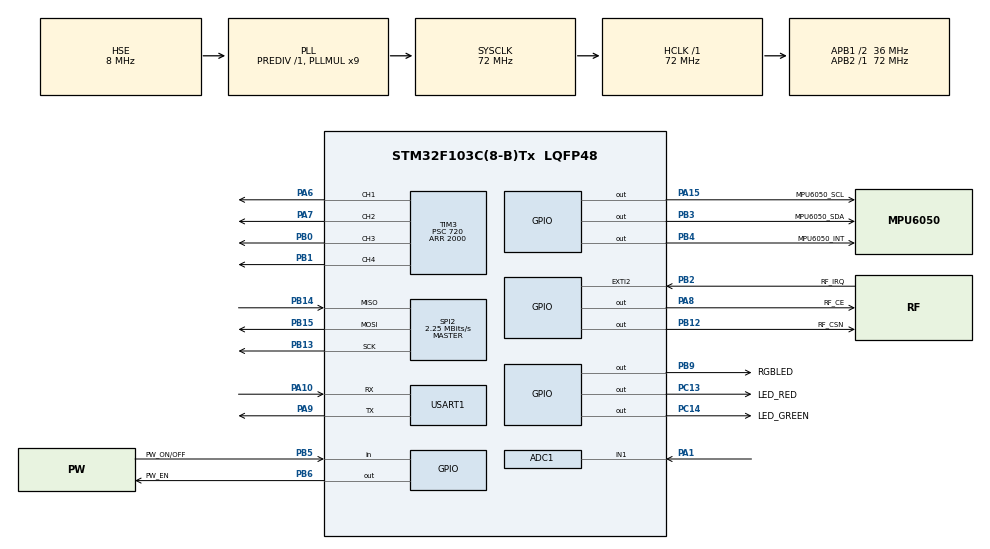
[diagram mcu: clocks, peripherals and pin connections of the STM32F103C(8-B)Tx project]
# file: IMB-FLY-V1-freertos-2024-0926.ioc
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ADC1.Channel-0\#ChannelRegularConversion=ADC_CHANNEL_1
ADC1.NbrOfConversionFlag=1
ADC1.Rank-0\#ChannelRegularConversion=1
ADC1.SamplingTime-0\#ChannelRegularConversion=ADC_SAMPLETIME_13CYCLES_5
ADC1.master=1
FREERTOS.Tasks01=PWR_Task,0,128,Start_PWR_Task,Default,NULL,Dynamic,NULL,NULL;LED_Task,-3,128,Start_LED_Task,Default,NULL,Dynamic,NULL,NULL;BMP280_Task,-3,128,Start_BMP280_Task,Default,NULL,Dynamic,NULL,NULL;SI24R1_SingalCheck_Task,-3,128,Start_SI24R1_SingalCheck,Default,NULL,Dynamic,NULL,NULL;SI24R1_GetAddr_Task,-3,128,Start_SI24R1_GetAddr,Default,NULL,Dynamic,NULL,NULL;LowVoltage_Alarm_Task,-3,128,Start_LowVoltage_Alarm_Task,Default,NULL,Dynamic,NULL,NULL;SendToRemote_Task,-3,128,Start_SendToRemote_Task,Default,NULL,Dynamic,NULL,NULL;ANO_DT_Data_Task,-3,128,Start_ANO_DT_Data_Task,Default,NULL,Dynamic,NULL,NULL;Prepare_Data_Task,-3,128,StartT_Prepare_Data_Task,Default,NULL,Dynamic,NULL,NULL;IMUupdate_Task,-3,128,Start_IMUupdate_Task,Default,NULL,Dynamic,NULL,NULL;Control_Task,-3,128,Start_Control_Task,Default,NULL,Dynamic,NULL,NULL
FREERTOS.configMAX_TASK_NAME_LEN=25
FREERTOS.configTOTAL_HEAP_SIZE=8192
Mcu.Family=STM32F1
Mcu.Name=STM32F103C(8-B)Tx
Mcu.Package=LQFP48
NVIC.EXTI2_IRQn=true\:5\:0\:false\:false\:true\:true\:true\:true\:true
NVIC.PriorityGroup=NVIC_PRIORITYGROUP_4
NVIC.USART1_IRQn=true\:6\:0\:true\:false\:true\:true\:true\:true\:true
PA1.Signal=ADCx_IN1
PA10.Mode=Asynchronous
PA10.Signal=USART1_RX
PA13.Mode=Serial_Wire
PA13.Signal=SYS_JTMS-SWDIO
PA14.Mode=Serial_Wire
PA14.Signal=SYS_JTCK-SWCLK
PA15.GPIO_Label=MPU6050_SCL
PA15.Signal=GPIO_Output
PA6.Signal=S_TIM3_CH1
PA7.Signal=S_TIM3_CH2
PA8.GPIO_Label=RF_CE
PA8.Signal=GPIO_Output
PA9.Mode=Asynchronous
PA9.Signal=USART1_TX
PB0.Signal=S_TIM3_CH3
PB1.Signal=S_TIM3_CH4
PB12.GPIO_Label=RF_CSN
PB12.Signal=GPIO_Output
PB13.Mode=Full_Duplex_Master
PB13.Signal=SPI2_SCK
PB14.Mode=Full_Duplex_Master
PB14.Signal=SPI2_MISO
PB15.Mode=Full_Duplex_Master
PB15.Signal=SPI2_MOSI
PB2.GPIO_Label=RF_IRQ
PB2.GPIO_ModeDefaultEXTI=GPIO_MODE_IT_FALLING
PB2.GPIO_PuPd=GPIO_PULLUP
PB2.Signal=GPXTI2
PB3.GPIO_Label=MPU6050_SDA
PB3.Signal=GPIO_Output
PB4.GPIO_Label=MPU6050_INT
PB4.Signal=GPIO_Output
PB5.GPIO_Label=PW_ON/OFF
PB5.GPIO_PuPd=GPIO_PULLUP
PB5.Signal=GPIO_Input
PB6.GPIO_Label=PW_EN
PB6.GPIO_PuPd=GPIO_PULLDOWN
PB6.GPIO_Speed=GPIO_SPEED_FREQ_HIGH
PB6.Signal=GPIO_Output
PB9.GPIO_Label=RGBLED
PB9.GPIO_PuPd=GPIO_PULLDOWN
PB9.GPIO_Speed=GPIO_SPEED_FREQ_HIGH
PB9.Signal=GPIO_Output
PC13-TAMPER-RTC.GPIO_Label=LED_RED
PC13-TAMPER-RTC.GPIO_PuPd=GPIO_PULLUP
PC13-TAMPER-RTC.GPIO_Speed=GPIO_SPEED_FREQ_HIGH
PC13-TAMPER-RTC.PinState=GPIO_PIN_SET
PC13-TAMPER-RTC.Signal=GPIO_Output
PC14-OSC32_IN.GPIO_Label=LED_GREEN
PC14-OSC32_IN.GPIO_PuPd=GPIO_PULLUP
PC14-OSC32_IN.GPIO_Speed=GPIO_SPEED_FREQ_HIGH
PC14-OSC32_IN.PinState=GPIO_PIN_SET
PC14-OSC32_IN.Signal=GPIO_Output
PD0-OSC_IN.Mode=HSE-External-Oscillator
PD0-OSC_IN.Signal=RCC_OSC_IN
PD1-OSC_OUT.Mode=HSE-External-Oscillator
PD1-OSC_OUT.Signal=RCC_OSC_OUT
ProjectManager.HeapSize=0x200
ProjectManager.StackSize=0x400
ProjectManager.TargetToolchain=MDK-ARM V5.32
RCC.ADCPresc=RCC_ADCPCLK2_DIV6
RCC.AHBFreq_Value=72000000
RCC.APB1CLKDivider=RCC_HCLK_DIV2
RCC.APB1Freq_Value=36000000
RCC.APB1TimFreq_Value=72000000
RCC.APB2Freq_Value=72000000
RCC.APB2TimFreq_Value=72000000
RCC.HCLKFreq_Value=72000000
RCC.PLLMUL=RCC_PLL_MUL9
RCC.PLLSourceVirtual=RCC_PLLSOURCE_HSE
RCC.SYSCLKFreq_VALUE=72000000
RCC.SYSCLKSource=RCC_SYSCLKSOURCE_PLLCLK
RCC.USBFreq_Value=72000000
SH.ADCx_IN1.0=ADC1_IN1,IN1
SH.S_TIM3_CH1.0=TIM3_CH1,PWM Generation1 CH1
SH.S_TIM3_CH2.0=TIM3_CH2,PWM Generation2 CH2
SH.S_TIM3_CH3.0=TIM3_CH3,PWM Generation3 CH3
SH.S_TIM3_CH4.0=TIM3_CH4,PWM Generation4 CH4
SPI2.BaudRatePrescaler=SPI_BAUDRATEPRESCALER_16
SPI2.CRCCalculation=SPI_CRCCALCULATION_DISABLE
SPI2.CalculateBaudRate=2.25 MBits/s
SPI2.Direction=SPI_DIRECTION_2LINES
SPI2.Mode=SPI_MODE_MASTER
SPI2.VirtualType=VM_MASTER
TIM3.AutoReloadPreload=TIM_AUTORELOAD_PRELOAD_ENABLE
TIM3.Channel-PWM\ Generation1\ CH1=TIM_CHANNEL_1
TIM3.Channel-PWM\ Generation2\ CH2=TIM_CHANNEL_2
TIM3.Channel-PWM\ Generation3\ CH3=TIM_CHANNEL_3
TIM3.Channel-PWM\ Generation4\ CH4=TIM_CHANNEL_4
TIM3.Period=2000
TIM3.Prescaler=720
USART1.VirtualMode=VM_ASYNC
VP_FREERTOS_VS_CMSIS_V1.Mode=CMSIS_V1
VP_TIM3_VS_ClockSourceINT.Mode=Internal
board=custom

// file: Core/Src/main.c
/* USER CODE BEGIN Header */
/**
  ******************************************************************************
  * @file           : main.c
  * @brief          : Main program body
  ******************************************************************************
  * @attention
  *
  * Copyright (c) 2024 STMicroelectronics.
  * All rights reserved.
  *
  * This software is licensed under terms that can be found in the LICENSE file
  * in the root directory of this software component.
  * If no LICENSE file comes with this software, it is provided AS-IS.
  *
  ******************************************************************************
  */
/* USER CODE END Header */
#include "main.h"
#include "cmsis_os.h"
#include "adc.h"
#include "spi.h"
#include "tim.h"
#include "usart.h"
#include "gpio.h"

/* USER CODE BEGIN Includes */
#include "PWR_ON.h"
#include "si24r1.h"
#include "MPU6050.h"
#include "fbm320.h"
#include "motor.h"
#include "paramsave.h"
#include "pid.h"
#include "WS2812B_led.h"
#include "delay.h"
#include "bme280.h"
#include "battery_adc.h"

/* USER CODE END Includes */

void SystemClock_Config(void);
void MX_FREERTOS_Init(void);

int main(void)
{

  /* MCU Configuration--------------------------------------------------------*/

  /* Reset of all peripherals, Initializes the Flash interface and the Systick. */
  HAL_Init();

  /* USER CODE BEGIN Init */
    delay_init(72);

  /* USER CODE END Init */

  /* Configure the system clock */
  SystemClock_Config();

  /* Initialize all configured peripherals */
  MX_GPIO_Init();
  MX_ADC1_Init();
  MX_SPI2_Init();
  MX_TIM3_Init();
  MX_USART1_UART_Init();
  /* USER CODE BEGIN 2 */
    PWR_ON();//开机启动
    SI24R1_Init();//SI24硬件验证OK,代码验证OK
    MPU6050_Init();//MPU6050初始化（绿）,代码验证OK
    bme280Init();//bme280初始化（绿）,代码验证OK
//  FBM320_Init(); //FBM320初始化(气压计蓝)
//	MOTOR_Init(); //电机输出初始化
    BATT_Init(); //电池电压检测初始化
    PID_ReadFlash(); //Flash中的数据读取,代码验证OK
    PidParameter_init(); //PID参数初始化
    RGB_LED_Off();	//初始化关闭所有RGB灯

  /* USER CODE END 2 */

  /* Call init function for freertos objects (in cmsis_os2.c) */
  MX_FREERTOS_Init();

  /* Start scheduler */
  osKernelStart();

  /* We should never get here as control is now taken by the scheduler */

  /* Infinite loop */
    while (1)
    {

    }
}

void SystemClock_Config(void)
{
  RCC_OscInitTypeDef RCC_OscInitStruct = {0};
  RCC_ClkInitTypeDef RCC_ClkInitStruct = {0};
  RCC_PeriphCLKInitTypeDef PeriphClkInit = {0};

  /** Initializes the RCC Oscillators according to the specified parameters
  * in the RCC_OscInitTypeDef structure.
  */
  RCC_OscInitStruct.OscillatorType = RCC_OSCILLATORTYPE_HSE;
  RCC_OscInitStruct.HSEState = RCC_HSE_ON;
  RCC_OscInitStruct.HSEPredivValue = RCC_HSE_PREDIV_DIV1;
  RCC_OscInitStruct.HSIState = RCC_HSI_ON;
  RCC_OscInitStruct.PLL.PLLState = RCC_PLL_ON;
  RCC_OscInitStruct.PLL.PLLSource = RCC_PLLSOURCE_HSE;
  RCC_OscInitStruct.PLL.PLLMUL = RCC_PLL_MUL9;
  if (HAL_RCC_OscConfig(&RCC_OscInitStruct) != HAL_OK)
  {
    Error_Handler();
  }

  /** Initializes the CPU, AHB and APB buses clocks
  */
  RCC_ClkInitStruct.ClockType = RCC_CLOCKTYPE_HCLK|RCC_CLOCKTYPE_SYSCLK
                              |RCC_CLOCKTYPE_PCLK1|RCC_CLOCKTYPE_PCLK2;
  RCC_ClkInitStruct.SYSCLKSource = RCC_SYSCLKSOURCE_PLLCLK;
  RCC_ClkInitStruct.AHBCLKDivider = RCC_SYSCLK_DIV1;
  RCC_ClkInitStruct.APB1CLKDivider = RCC_HCLK_DIV2;
  RCC_ClkInitStruct.APB2CLKDivider = RCC_HCLK_DIV1;

  if (HAL_RCC_ClockConfig(&RCC_ClkInitStruct, FLASH_LATENCY_2) != HAL_OK)
  {
    Error_Handler();
  }
  PeriphClkInit.PeriphClockSelection = RCC_PERIPHCLK_ADC;
  PeriphClkInit.AdcClockSelection = RCC_ADCPCLK2_DIV6;
  if (HAL_RCCEx_PeriphCLKConfig(&PeriphClkInit) != HAL_OK)
  {
    Error_Handler();
  }
}

void Error_Handler(void)
{
    __disable_irq();
    while (1)
    {
    }
}

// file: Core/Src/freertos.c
/* USER CODE BEGIN Header */
/**
  ******************************************************************************
  * File Name          : freertos.c
  * Description        : Code for freertos applications
  ******************************************************************************
  * @attention
  *
  * Copyright (c) 2024 STMicroelectronics.
  * All rights reserved.
  *
  * This software is licensed under terms that can be found in the LICENSE file
  * in the root directory of this software component.
  * If no LICENSE file comes with this software, it is provided AS-IS.
  *
  ******************************************************************************
  */
/* USER CODE END Header */

#include "FreeRTOS.h"
#include "task.h"
#include "main.h"
#include "cmsis_os.h"

/* USER CODE BEGIN Includes */
#include "PWR_ON_OFF.h"
#include "WS2812B_led.h"
#include "bme280.h"
#include "paramsave.h"
#include "MPU6050.h"
#include "ANO_DT.h"
#include "imu.h"
#include "si24r1.h"
#include "remotedata.h"
#include "tim.h"
#include "kalman_cal.h"
#include "battery_adc.h"
#include "control.h"
#include "usart.h"

/* USER CODE END Includes */

/* USER CODE BEGIN PD */

extern FLOAT_XYZ 	 Gyr_degree,Gyr_rad,Acc_filt;	              //把陀螺仪的各通道读出的数据，转换成弧度制 和 度

/* USER CODE END PD */

osThreadId PWR_TaskHandle;
osThreadId LED_TaskHandle;
osThreadId BMP280_TaskHandle;
osThreadId SI24R1_SingalCheck_TaskHandle;
osThreadId SI24R1_GetAddr_TaskHandle;
osThreadId LowVoltage_Alarm_TaskHandle;
osThreadId SendToRemote_TaskHandle;
osThreadId ANO_DT_Data_TaskHandle;
osThreadId Prepare_Data_TaskHandle;
osThreadId IMUupdate_TaskHandle;
osThreadId Control_TaskHandle;

void Start_PWR_Task(void const * argument);
void Start_LED_Task(void const * argument);
void Start_BMP280_Task(void const * argument);
void Start_SI24R1_SingalCheck(void const * argument);
void Start_SI24R1_GetAddr(void const * argument);
void Start_LowVoltage_Alarm_Task(void const * argument);
void Start_SendToRemote_Task(void const * argument);
void Start_ANO_DT_Data_Task(void const * argument);
void StartT_Prepare_Data_Task(void const * argument);
void Start_IMUupdate_Task(void const * argument);
void Start_Control_Task(void const * argument);

void MX_FREERTOS_Init(void); /* (MISRA C 2004 rule 8.1) */

/* GetIdleTaskMemory prototype (linked to static allocation support) */
void vApplicationGetIdleTaskMemory( StaticTask_t **ppxIdleTaskTCBBuffer, StackType_t **ppxIdleTaskStackBuffer, uint32_t *pulIdleTaskStackSize );

/* USER CODE BEGIN GET_IDLE_TASK_MEMORY */
static StaticTask_t xIdleTaskTCBBuffer;
static StackType_t xIdleStack[configMINIMAL_STACK_SIZE];

void vApplicationGetIdleTaskMemory( StaticTask_t **ppxIdleTaskTCBBuffer, StackType_t **ppxIdleTaskStackBuffer, uint32_t *pulIdleTaskStackSize )
{
    *ppxIdleTaskTCBBuffer = &xIdleTaskTCBBuffer;
    *ppxIdleTaskStackBuffer = &xIdleStack[0];
    *pulIdleTaskStackSize = configMINIMAL_STACK_SIZE;
    /* place for user code */
}
/* USER CODE END GET_IDLE_TASK_MEMORY */

void MX_FREERTOS_Init(void) {

  /* Create the thread(s) */
  /* definition and creation of PWR_Task */
  osThreadDef(PWR_Task, Start_PWR_Task, osPriorityNormal, 0, 128);
  PWR_TaskHandle = osThreadCreate(osThread(PWR_Task), NULL);

  /* definition and creation of LED_Task */
  osThreadDef(LED_Task, Start_LED_Task, osPriorityIdle, 0, 128);
  LED_TaskHandle = osThreadCreate(osThread(LED_Task), NULL);

  /* definition and creation of BMP280_Task */
  osThreadDef(BMP280_Task, Start_BMP280_Task, osPriorityIdle, 0, 128);
  BMP280_TaskHandle = osThreadCreate(osThread(BMP280_Task), NULL);

  /* definition and creation of SI24R1_SingalCheck_Task */
  osThreadDef(SI24R1_SingalCheck_Task, Start_SI24R1_SingalCheck, osPriorityIdle, 0, 128);
  SI24R1_SingalCheck_TaskHandle = osThreadCreate(osThread(SI24R1_SingalCheck_Task), NULL);

  /* definition and creation of SI24R1_GetAddr_Task */
  osThreadDef(SI24R1_GetAddr_Task, Start_SI24R1_GetAddr, osPriorityIdle, 0, 128);
  SI24R1_GetAddr_TaskHandle = osThreadCreate(osThread(SI24R1_GetAddr_Task), NULL);

  /* definition and creation of LowVoltage_Alarm_Task */
  osThreadDef(LowVoltage_Alarm_Task, Start_LowVoltage_Alarm_Task, osPriorityIdle, 0, 128);
  LowVoltage_Alarm_TaskHandle = osThreadCreate(osThread(LowVoltage_Alarm_Task), NULL);

  /* definition and creation of SendToRemote_Task */
  osThreadDef(SendToRemote_Task, Start_SendToRemote_Task, osPriorityIdle, 0, 128);
  SendToRemote_TaskHandle = osThreadCreate(osThread(SendToRemote_Task), NULL);

  /* definition and creation of ANO_DT_Data_Task */
  osThreadDef(ANO_DT_Data_Task, Start_ANO_DT_Data_Task, osPriorityIdle, 0, 128);
  ANO_DT_Data_TaskHandle = osThreadCreate(osThread(ANO_DT_Data_Task), NULL);

  /* definition and creation of Prepare_Data_Task */
  osThreadDef(Prepare_Data_Task, StartT_Prepare_Data_Task, osPriorityIdle, 0, 128);
  Prepare_Data_TaskHandle = osThreadCreate(osThread(Prepare_Data_Task), NULL);

  /* definition and creation of IMUupdate_Task */
  osThreadDef(IMUupdate_Task, Start_IMUupdate_Task, osPriorityIdle, 0, 128);
  IMUupdate_TaskHandle = osThreadCreate(osThread(IMUupdate_Task), NULL);

  /* definition and creation of Control_Task */
  osThreadDef(Control_Task, Start_Control_Task, osPriorityIdle, 0, 128);
  Control_TaskHandle = osThreadCreate(osThread(Control_Task), NULL);

}

void Start_PWR_Task(void const * argument)
{
  /* USER CODE BEGIN Start_PWR_Task */
    /* Infinite loop */
    for(;;)
    {
        PWR_ON_OFF();
        osDelay(20);
    }
  /* USER CODE END Start_PWR_Task */
}

void Start_LED_Task(void const * argument)
{
  /* USER CODE BEGIN Start_LED_Task */
    /* Infinite loop */
    for(;;)
    {
//	  HAL_GPIO_TogglePin(LED_GREEN_GPIO_Port,LED_GREEN_Pin);
        HAL_GPIO_TogglePin(LED_RED_GPIO_Port,LED_RED_Pin);
//	  printf("KEY1_Pin  OK!!!\r\n");
        osDelay(500);
    }
  /* USER CODE END Start_LED_Task */
}

void Start_BMP280_Task(void const * argument)
{
  /* USER CODE BEGIN Start_BMP280_Task */
    /* Infinite loop */
//	float bmp280_temp;
//	float bmp280_press;
//	float bmp280_humi;
//	float high;

    for(;;)
    {
//		bme280GetData(&bmp280_press,&bmp280_temp,&bmp280_humi,&high);
//		osDelay(500);
//		printf("bmp280_press:%f\r\n",bmp280_press);
//		osDelay(100);
//		printf("bmp280_temp :%f\r\n",bmp280_temp);
//		osDelay(100);
//////		printf("bmp280_humidity :%f\r\n",bmp280_humi);
//////		osDelay(100);
//		printf("bmp280_high :%f\r\n\r\n",high);
        osDelay(1000);
    }
  /* USER CODE END Start_BMP280_Task */
}

void Start_SI24R1_SingalCheck(void const * argument)
{
  /* USER CODE BEGIN Start_SI24R1_SingalCheck */
    /* Infinite loop */
    for(;;)
    {
        SI24R1_SingalCheck(); //2.4G通信检测
        osDelay(200);
    }
  /* USER CODE END Start_SI24R1_SingalCheck */
}

void Start_SI24R1_GetAddr(void const * argument)
{
  /* USER CODE BEGIN Start_SI24R1_GetAddr */
    /* Infinite loop */
    for(;;)
    {
        SI24R1_GetAddr(); //分配2.4G地址
        osDelay(400);
    }
  /* USER CODE END Start_SI24R1_GetAddr */
}

void Start_LowVoltage_Alarm_Task(void const * argument)
{
  /* USER CODE BEGIN Start_LowVoltage_Alarm_Task */
    /* Infinite loop */
    for(;;)
    {
//        BATT_Alarm_LED(); //电池低电压报警
//        LowVoltage_Alarm();	//低电量报警
        osDelay(300);
    }
  /* USER CODE END Start_LowVoltage_Alarm_Task */
}

void Start_SendToRemote_Task(void const * argument)
{
  /* USER CODE BEGIN Start_SendToRemote_Task */
    /* Infinite loop */
    for(;;)
    {
        SendToRemote();
        osDelay(300);
    }
  /* USER CODE END Start_SendToRemote_Task */
}

void Start_ANO_DT_Data_Task(void const * argument)
{
  /* USER CODE BEGIN Start_ANO_DT_Data_Task */
    /* Infinite loop */
    for(;;)
    {
//        ANO_DT_Data_Exchange(); //更新数据到上位机
		RGB_LED_Runing();
        osDelay(500);
    }
  /* USER CODE END Start_ANO_DT_Data_Task */
}

void StartT_Prepare_Data_Task(void const * argument)
{
  /* USER CODE BEGIN StartT_Prepare_Data_Task */
    /* Infinite loop */
    for(;;)
    {
        Prepare_Data(); //获取姿态解算所需数据
        osDelay(10);
    }
  /* USER CODE END StartT_Prepare_Data_Task */
}

void Start_IMUupdate_Task(void const * argument)
{
  /* USER CODE BEGIN Start_IMUupdate_Task */
    /* Infinite loop */
    for(;;)
    {
        IMUupdate(&Gyr_rad,&Acc_filt,&Att_Angle); //四元数姿态解算
        osDelay(10);
    }
  /* USER CODE END Start_IMUupdate_Task */
}

void Start_Control_Task(void const * argument)
{
  /* USER CODE BEGIN Start_Control_Task */
    /* Infinite loop */
    for(;;)
    {
		Control(&Att_Angle,&Gyr_rad,&RC_Control,Airplane_Enable); //姿态控制
//		ANO_DT_Data_Receive_Prepare(*aRxBuffer1);
        osDelay(10);
    }
  /* USER CODE END Start_Control_Task */
}
